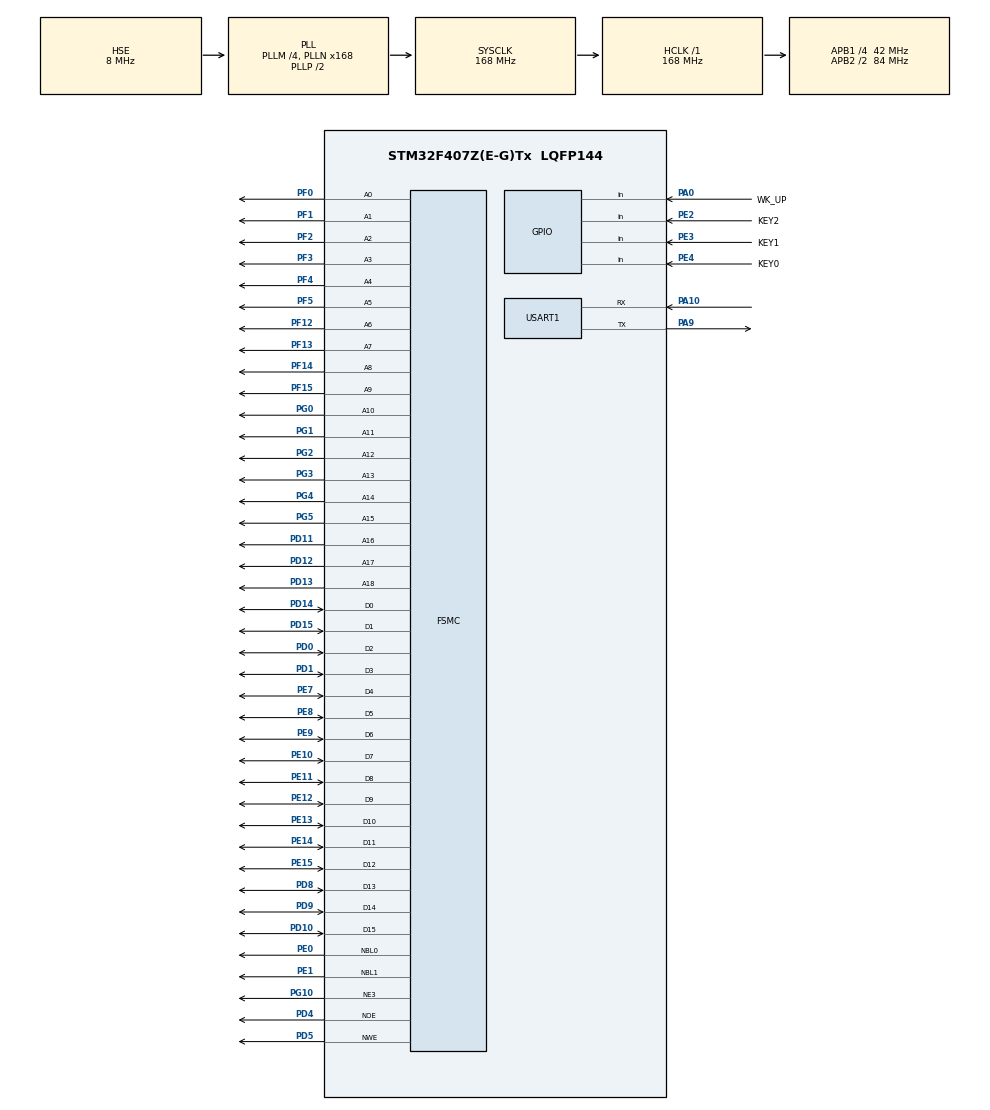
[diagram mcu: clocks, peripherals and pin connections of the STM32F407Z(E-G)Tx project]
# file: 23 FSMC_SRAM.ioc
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Dma.MEMTOMEM.0.Direction=DMA_MEMORY_TO_MEMORY
Dma.MEMTOMEM.0.FIFOMode=DMA_FIFOMODE_ENABLE
Dma.MEMTOMEM.0.FIFOThreshold=DMA_FIFO_THRESHOLD_FULL
Dma.MEMTOMEM.0.Instance=DMA2_Stream0
Dma.MEMTOMEM.0.MemBurst=DMA_MBURST_SINGLE
Dma.MEMTOMEM.0.MemDataAlignment=DMA_MDATAALIGN_WORD
Dma.MEMTOMEM.0.MemInc=DMA_MINC_ENABLE
Dma.MEMTOMEM.0.Mode=DMA_NORMAL
Dma.MEMTOMEM.0.PeriphBurst=DMA_PBURST_SINGLE
Dma.MEMTOMEM.0.PeriphDataAlignment=DMA_PDATAALIGN_WORD
Dma.MEMTOMEM.0.PeriphInc=DMA_PINC_ENABLE
Dma.MEMTOMEM.0.Priority=DMA_PRIORITY_LOW
Dma.Request0=MEMTOMEM
FSMC.AddressSetupTime3=0
FSMC.BusTurnAroundDuration3=0
FSMC.DataSetupTime3=8
FSMC.ExtendedMode3=FSMC_EXTENDED_MODE_DISABLE
FSMC.WriteOperation3=FSMC_WRITE_OPERATION_ENABLE
Mcu.Family=STM32F4
Mcu.Name=STM32F407Z(E-G)Tx
Mcu.Package=LQFP144
NVIC.DMA2_Stream0_IRQn=true\:1\:0\:true\:false\:true\:true\:true\:true
NVIC.PriorityGroup=NVIC_PRIORITYGROUP_2
PA0-WKUP.GPIO_Label=WK_UP
PA0-WKUP.GPIO_PuPd=GPIO_PULLDOWN
PA0-WKUP.Signal=GPIO_Input
PA10.Mode=Asynchronous
PA10.Signal=USART1_RX
PA13.Mode=Serial_Wire
PA13.Signal=SYS_JTMS-SWDIO
PA14.Mode=Serial_Wire
PA14.Signal=SYS_JTCK-SWCLK
PA9.Mode=Asynchronous
PA9.Signal=USART1_TX
PC14-OSC32_IN.Mode=LSE-External-Oscillator
PC14-OSC32_IN.Signal=RCC_OSC32_IN
PC15-OSC32_OUT.Mode=LSE-External-Oscillator
PC15-OSC32_OUT.Signal=RCC_OSC32_OUT
PD0.Signal=FSMC_D2_DA2
PD1.Signal=FSMC_D3_DA3
PD10.Signal=FSMC_D15_DA15
PD11.Signal=FSMC_A16_CLE
PD12.Signal=FSMC_A17_ALE
PD13.Signal=FSMC_A18
PD14.Signal=FSMC_D0_DA0
PD15.Signal=FSMC_D1_DA1
PD4.Signal=FSMC_NOE
PD5.Signal=FSMC_NWE
PD8.Signal=FSMC_D13_DA13
PD9.Signal=FSMC_D14_DA14
PE0.Signal=FSMC_NBL0
PE1.Signal=FSMC_NBL1
PE10.Signal=FSMC_D7_DA7
PE11.Signal=FSMC_D8_DA8
PE12.Signal=FSMC_D9_DA9
PE13.Signal=FSMC_D10_DA10
PE14.Signal=FSMC_D11_DA11
PE15.Signal=FSMC_D12_DA12
PE2.GPIO_Label=KEY2
PE2.GPIO_PuPd=GPIO_PULLUP
PE2.Signal=GPIO_Input
PE3.GPIO_Label=KEY1
PE3.GPIO_PuPd=GPIO_PULLUP
PE3.Signal=GPIO_Input
PE4.GPIO_Label=KEY0
PE4.GPIO_PuPd=GPIO_PULLUP
PE4.Signal=GPIO_Input
PE7.Signal=FSMC_D4_DA4
PE8.Signal=FSMC_D5_DA5
PE9.Signal=FSMC_D6_DA6
PF0.Signal=FSMC_A0
PF1.Signal=FSMC_A1
PF12.Signal=FSMC_A6
PF13.Signal=FSMC_A7
PF14.Signal=FSMC_A8
PF15.Signal=FSMC_A9
PF2.Signal=FSMC_A2
PF3.Signal=FSMC_A3
PF4.Signal=FSMC_A4
PF5.Signal=FSMC_A5
PG0.Signal=FSMC_A10
PG1.Signal=FSMC_A11
PG10.Mode=NorPsramChipSelect3_3
PG10.Signal=FSMC_NE3
PG2.Signal=FSMC_A12
PG3.Signal=FSMC_A13
PG4.Signal=FSMC_A14
PG5.Signal=FSMC_A15
PH0-OSC_IN.Mode=HSE-External-Oscillator
PH0-OSC_IN.Signal=RCC_OSC_IN
PH1-OSC_OUT.Mode=HSE-External-Oscillator
PH1-OSC_OUT.Signal=RCC_OSC_OUT
ProjectManager.HeapSize=0x200
ProjectManager.StackSize=0x400
ProjectManager.TargetToolchain=MDK-ARM V5.32
RCC.48MHZClocksFreq_Value=48000000
RCC.AHBFreq_Value=168000000
RCC.APB1CLKDivider=RCC_HCLK_DIV4
RCC.APB1Freq_Value=42000000
RCC.APB1TimFreq_Value=84000000
RCC.APB2CLKDivider=RCC_HCLK_DIV2
RCC.APB2Freq_Value=84000000
RCC.APB2TimFreq_Value=168000000
RCC.CortexFreq_Value=168000000
RCC.HCLKFreq_Value=168000000
RCC.HSE_VALUE=8000000
RCC.HSI_VALUE=16000000
RCC.PLLM=4
RCC.PLLN=168
RCC.PLLQ=7
RCC.PLLSourceVirtual=RCC_PLLSOURCE_HSE
RCC.SYSCLKFreq_VALUE=168000000
RCC.SYSCLKSource=RCC_SYSCLKSOURCE_PLLCLK
RCC.VCOOutputFreq_Value=336000000
SH.FSMC_A0.0=FSMC_A0,19b-a3
SH.FSMC_A1.0=FSMC_A1,19b-a3
SH.FSMC_A10.0=FSMC_A10,19b-a3
SH.FSMC_A11.0=FSMC_A11,19b-a3
SH.FSMC_A12.0=FSMC_A12,19b-a3
SH.FSMC_A13.0=FSMC_A13,19b-a3
SH.FSMC_A14.0=FSMC_A14,19b-a3
SH.FSMC_A15.0=FSMC_A15,19b-a3
SH.FSMC_A16_CLE.0=FSMC_A16,19b-a3
SH.FSMC_A17_ALE.0=FSMC_A17,19b-a3
SH.FSMC_A18.0=FSMC_A18,19b-a3
SH.FSMC_A2.0=FSMC_A2,19b-a3
SH.FSMC_A3.0=FSMC_A3,19b-a3
SH.FSMC_A4.0=FSMC_A4,19b-a3
SH.FSMC_A5.0=FSMC_A5,19b-a3
SH.FSMC_A6.0=FSMC_A6,19b-a3
SH.FSMC_A7.0=FSMC_A7,19b-a3
SH.FSMC_A8.0=FSMC_A8,19b-a3
SH.FSMC_A9.0=FSMC_A9,19b-a3
SH.FSMC_D0_DA0.0=FSMC_D0,16b-d3
SH.FSMC_D10_DA10.0=FSMC_D10,16b-d3
SH.FSMC_D11_DA11.0=FSMC_D11,16b-d3
SH.FSMC_D12_DA12.0=FSMC_D12,16b-d3
SH.FSMC_D13_DA13.0=FSMC_D13,16b-d3
SH.FSMC_D14_DA14.0=FSMC_D14,16b-d3
SH.FSMC_D15_DA15.0=FSMC_D15,16b-d3
SH.FSMC_D1_DA1.0=FSMC_D1,16b-d3
SH.FSMC_D2_DA2.0=FSMC_D2,16b-d3
SH.FSMC_D3_DA3.0=FSMC_D3,16b-d3
SH.FSMC_D4_DA4.0=FSMC_D4,16b-d3
SH.FSMC_D5_DA5.0=FSMC_D5,16b-d3
SH.FSMC_D6_DA6.0=FSMC_D6,16b-d3
SH.FSMC_D7_DA7.0=FSMC_D7,16b-d3
SH.FSMC_D8_DA8.0=FSMC_D8,16b-d3
SH.FSMC_D9_DA9.0=FSMC_D9,16b-d3
SH.FSMC_NBL0.0=FSMC_NBL0,2ByteEnable3
SH.FSMC_NBL1.0=FSMC_NBL1,2ByteEnable3
SH.FSMC_NOE.0=FSMC_NOE,Sram3
SH.FSMC_NWE.0=FSMC_NWE,Sram3
USART1.VirtualMode=VM_ASYNC
VP_RNG_VS_RNG.Mode=RNG_Activate
board=custom

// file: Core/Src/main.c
/* USER CODE BEGIN Header */
/**
  ******************************************************************************
  * @file           : main.c
  * @brief          : Main program body
  ******************************************************************************
  * @attention
  *
  * Copyright (c) 2024 STMicroelectronics.
  * All rights reserved.
  *
  * This software is licensed under terms that can be found in the LICENSE file
  * in the root directory of this software component.
  * If no LICENSE file comes with this software, it is provided AS-IS.
  *
  ******************************************************************************
  */
/* USER CODE END Header */
#include "main.h"
#include "dma.h"
#include "rng.h"
#include "usart.h"
#include "gpio.h"
#include "fsmc.h"

/* USER CODE BEGIN Includes */
#include "stdio.h"
/* USER CODE END Includes */

/* USER CODE BEGIN PTD */
#ifdef __GNUC__
#define PUTCHAR_PROTOTYPE int __io_putchar(int ch)
#else
#define PUTCHAR_PROTOTYPE int fputc(int ch, FILE *f)
#endif
PUTCHAR_PROTOTYPE
{
    HAL_UART_Transmit(&huart1, (uint8_t *)&ch, 1, HAL_MAX_DELAY);
    return ch;
}
/* USER CODE END PTD */

/* USER CODE BEGIN PD */
#define SRAM_ADDR_BEGIN		0x68000000UL //Bank1子区3的 SRAM起始地址
#define SRAM_ADDR_HALF		0x68080000UL //SRAM中间地址 512K字节
#define SRAM_ADDR_END			0x680FFFFFUL //SRAM结束地址 1024K字节
/* USER CODE END PD */

/* USER CODE BEGIN PM */
void SRAM_ReadByPointer(void);
void SRAM_WriteByPointer(void);
void SRAM_ReadByFunc(void);
void SRAM_WriteByFunc(void);
void SRAM_WriteDMA(void);
void SRAM_ReadDMA(void);
/* USER CODE END PM */

/* USER CODE BEGIN PV */
#define COUNT	5 //缓存区数据个数
uint32_t txBuffer[COUNT]; //DMA发送缓存区
uint32_t rxBuffer[COUNT]; //DMA接收缓存区
uint8_t DMA_Direction = 1; //DMA传输方向，1=write, 0=read
uint8_t DMA_Busy = 0; //DMA工作状态，1=busy, 0=idle
/* USER CODE END PV */

void SystemClock_Config(void);

int main(void)
{

  /* MCU Configuration--------------------------------------------------------*/

  /* Reset of all peripherals, Initializes the Flash interface and the Systick. */
  HAL_Init();

  /* Configure the system clock */
  SystemClock_Config();

  /* Initialize all configured peripherals */
  MX_GPIO_Init();
  MX_DMA_Init();
  MX_FSMC_Init();
  MX_USART1_UART_Init();
  MX_RNG_Init();
  /* USER CODE BEGIN 2 */
	printf("Reset!\r\n");
	//将外设与DMA流关联
	__HAL_LINKDMA(&hsram3, hdma, hdma_memtomem_dma2_stream0);
  /* USER CODE END 2 */

  /* Infinite loop */
  while (1)
  {

    /* USER CODE BEGIN 3 */
		/*WK_UP被按下*/
		if(HAL_GPIO_ReadPin(WK_UP_GPIO_Port,WK_UP_Pin) == GPIO_PIN_SET)
		{
			HAL_Delay(50);
			if(HAL_GPIO_ReadPin(WK_UP_GPIO_Port,WK_UP_Pin) == GPIO_PIN_SET)
			{
				SRAM_WriteDMA();
				while(HAL_GPIO_ReadPin(WK_UP_GPIO_Port,WK_UP_Pin));
			}
		}

		/*KEY2被按下*/
		if(HAL_GPIO_ReadPin(KEY2_GPIO_Port,KEY2_Pin) == GPIO_PIN_RESET)
		{
			HAL_Delay(50);
			if(HAL_GPIO_ReadPin(KEY2_GPIO_Port,KEY2_Pin) == GPIO_PIN_RESET)
			{
				SRAM_ReadDMA();
				while(!HAL_GPIO_ReadPin(KEY2_GPIO_Port,KEY2_Pin));
			}
		}

		/*KEY1被按下*/
		if(HAL_GPIO_ReadPin(KEY1_GPIO_Port,KEY1_Pin) == GPIO_PIN_RESET)
		{
			HAL_Delay(50);
			if(HAL_GPIO_ReadPin(KEY1_GPIO_Port,KEY1_Pin) == GPIO_PIN_RESET)
			{
				//SRAM DMA写测试函数
				SRAM_WriteDMA();
				while(!HAL_GPIO_ReadPin(KEY1_GPIO_Port,KEY1_Pin));
			}
		}

		/*KEY0被按下*/
		if(HAL_GPIO_ReadPin(KEY0_GPIO_Port,KEY0_Pin) == GPIO_PIN_RESET)
		{
			HAL_Delay(50);
			if(HAL_GPIO_ReadPin(KEY0_GPIO_Port,KEY0_Pin) == GPIO_PIN_RESET)
			{
				//SRAM DMA读测试函数
				SRAM_ReadDMA();
				while(!HAL_GPIO_ReadPin(KEY0_GPIO_Port,KEY0_Pin));
			}
		}
  }
  /* USER CODE END 3 */
}

void SystemClock_Config(void)
{
  RCC_OscInitTypeDef RCC_OscInitStruct = {0};
  RCC_ClkInitTypeDef RCC_ClkInitStruct = {0};

  /** Configure the main internal regulator output voltage
  */
  __HAL_RCC_PWR_CLK_ENABLE();
  __HAL_PWR_VOLTAGESCALING_CONFIG(PWR_REGULATOR_VOLTAGE_SCALE1);

  /** Initializes the RCC Oscillators according to the specified parameters
  * in the RCC_OscInitTypeDef structure.
  */
  RCC_OscInitStruct.OscillatorType = RCC_OSCILLATORTYPE_HSE;
  RCC_OscInitStruct.HSEState = RCC_HSE_ON;
  RCC_OscInitStruct.PLL.PLLState = RCC_PLL_ON;
  RCC_OscInitStruct.PLL.PLLSource = RCC_PLLSOURCE_HSE;
  RCC_OscInitStruct.PLL.PLLM = 4;
  RCC_OscInitStruct.PLL.PLLN = 168;
  RCC_OscInitStruct.PLL.PLLP = RCC_PLLP_DIV2;
  RCC_OscInitStruct.PLL.PLLQ = 7;
  if (HAL_RCC_OscConfig(&RCC_OscInitStruct) != HAL_OK)
  {
    Error_Handler();
  }

  /** Initializes the CPU, AHB and APB buses clocks
  */
  RCC_ClkInitStruct.ClockType = RCC_CLOCKTYPE_HCLK|RCC_CLOCKTYPE_SYSCLK
                              |RCC_CLOCKTYPE_PCLK1|RCC_CLOCKTYPE_PCLK2;
  RCC_ClkInitStruct.SYSCLKSource = RCC_SYSCLKSOURCE_PLLCLK;
  RCC_ClkInitStruct.AHBCLKDivider = RCC_SYSCLK_DIV1;
  RCC_ClkInitStruct.APB1CLKDivider = RCC_HCLK_DIV4;
  RCC_ClkInitStruct.APB2CLKDivider = RCC_HCLK_DIV2;

  if (HAL_RCC_ClockConfig(&RCC_ClkInitStruct, FLASH_LATENCY_5) != HAL_OK)
  {
    Error_Handler();
  }
}

/* USER CODE BEGIN 4 */
/*用HAL函数写入数据*/
void SRAM_WriteByFunc(void)
{
	//1.写入字符串
	uint32_t *pAddr = (uint32_t *)(SRAM_ADDR_BEGIN);			//给指针赋值
	uint8_t strIn[] = "Moment in UPC";
	uint16_t dataLen = sizeof(strIn); 										//数据长度，字节数，包括最后的结束符'\0’
	if(HAL_SRAM_Write_8b(&hsram3, pAddr, strIn, dataLen) == HAL_OK)
	{
		printf("Write string at 0x6800 0000:");
		printf("%s\r\n",strIn);
	}

	//2.写入一个随机数
	uint32_t	num=0;
	pAddr=(uint32_t *)(SRAM_ADDR_BEGIN+256);							//指针重新赋值
	HAL_RNG_GenerateRandomNumber(&hrng, &num);						//产生32位随机数
	if(HAL_SRAM_Write_32b(&hsram3, pAddr, &num, 1) == HAL_OK)
	{
		printf("Write 32b number at 0x6800 0100");
		printf("0x%x\r\n", num);
	}

	printf("-----------------------------------------\r\n");
}

/*用HAL函数读取数据*/
void SRAM_ReadByFunc(void)
{
	//1.读取字符串
	uint32_t *pAddr = (uint32_t *)(SRAM_ADDR_BEGIN);			//给指针赋值
	uint8_t strOut[30];
	uint16_t dataLen = 30;
	if(HAL_SRAM_Read_8b(&hsram3, pAddr, strOut, dataLen) == HAL_OK)
	{
		printf("Read string at 0x6800 0000:");
		printf("%s\r\n", strOut);
	}

	//2.读取一个uint32_t数
	uint32_t	num=0;
	pAddr=(uint32_t *)(SRAM_ADDR_BEGIN+256);							//指针重新赋值,指向一个新的地址
	if(HAL_SRAM_Read_32b(&hsram3, pAddr, &num, 1) == HAL_OK)
	{
		printf("Read 32b number at 0x6800 0100:");
		printf("0x%x\r\n", num);
	}

	printf("-----------------------------------------\r\n");
}

/*以DMA方式写入数据*/
void SRAM_WriteDMA(void)
{
    printf("Write 32bit array by DMA:");
    uint32_t Value=3000;
    for(uint8_t i=0; i<COUNT; i++)
    {
        txBuffer[i] = Value;
        printf("%d,",Value);
        Value += 6;

    }
    printf("\r\n");
    //DMA传输方向，1=write, 0=read
    DMA_Direction=1;
    //表示DMA正在传输，1=working, 0=idle
    DMA_Busy=1;
    //给指针赋值
    uint32_t *pAddr_32b=(uint32_t *)(SRAM_ADDR_BEGIN);
    //DMA方式写入SRAM
    HAL_SRAM_Write_DMA(&hsram3, pAddr_32b, txBuffer, COUNT);

}

/*以DMA方式读取数据*/
void SRAM_ReadDMA(void)
{
	printf("Read 32bit array by DMA\r\n");
	DMA_Direction=0;
	DMA_Busy=1;

	uint32_t *pAddr_32b=(uint32_t *)(SRAM_ADDR_BEGIN);
	//以DMA方式读取SRAM
	HAL_SRAM_Read_DMA(&hsram3, pAddr_32b, rxBuffer, COUNT);
}

/*DMA传输完成回调函数*/
void HAL_SRAM_DMA_XferCpltCallback(DMA_HandleTypeDef *hdma)
{
	//DMA传输方向，1=write, 0=read
	if(DMA_Direction)
	{
		printf("Written by DMA complete.\r\n");
		printf("-----------------------------------------\r\n");
	}
	else
	{
		printf("Read by DMA complete.");
		for(uint8_t i=0; i<COUNT; i++)
			printf("%d,", rxBuffer[i]);
		printf("\r\n-----------------------------------------\r\n");
	}
	//表示DMA结束了传输，1=working, 0=idle
	DMA_Busy=0;
}

/*直接通过指针写数据*/
void	SRAM_WriteByPointer(void)
{
	printf("Write five uint16_t numbers");
	printf("start from 0x6808 0000");

	uint16_t num = 1000;
	uint16_t *pAddr_16b = (uint16_t *)(SRAM_ADDR_HALF);	//uint16_t 类型数据指针
	for(uint8_t i=0; i<5; i++) 	//连续写入5个16位整数
	{
		num += 5;
		*pAddr_16b = num;	//直接向指针所指的地址写入数据
		pAddr_16b ++;		//++一次，地址加2, 因为是uint16_t类型
		printf("%d\r\n", num);
	}
}

/*直接通过指针读取数据*/
void	SRAM_ReadByPointer(void)
{
	printf("Read five uint16_t numbers");
	printf("start from 0x6808 0000");

	uint16_t num=0;
	uint16_t *pAddr_16b = (uint16_t *)(SRAM_ADDR_HALF);	  //uint16_t 类型数据指针
	for(uint8_t i=0; i<5; i++)
	{
		num = *pAddr_16b;		//直接从指针所指的地址读数
		pAddr_16b ++;		//++一次，地址加2, 因为是uint16_t类型
		printf("%d\r\n", num);
	}
}

/* USER CODE END 4 */

void Error_Handler(void)
{
  __disable_irq();
  while (1)
  {
  }
}
